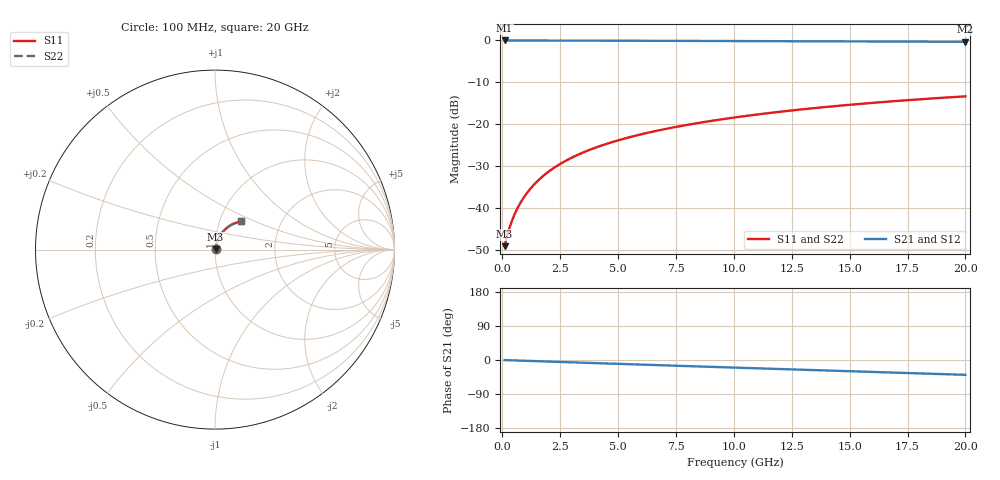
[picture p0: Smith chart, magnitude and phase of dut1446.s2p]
! Touchstone file exported from HFSS 2026.1.0
!  File:  C:/ffzhzh/LocalFiles/Ansys_Project_Files/temp_train_BSMRDL_1446_1783180625_51560.aedt
!  Generated:  11:58:22 PM Jul  4, 2026
!  Design:  BSMRDL
!  Project:  temp_train_BSMRDL_1446_1783180625_51560
! Variables:
!  h_bsmrdl = 5.2um
!  h_ox = 20um
!  h_rdl = 5um
!  h_sub = 80um
!  h_tmrdl = 5um
!  h_tsv = 80um
!  h_via = 3um
!  l_bsmrdl = 669.67um
!  l_sub = 1069.67um
!  l_tmrdl = 200um
!  m_sub = 200um
!  pitch = 26.01um
!  r_tsv = 6um
!  s_tmrdl = 10um
!  w_bsmrdl = 15.38um
!  w_sub = 500um
!  w_tmrdl = 12um
!  x_tsv_center1 = 206um
!  x_tsv_center2 = 891.05um
!  x_tsv_center3 = 1103.05um
!  x_tsv_center4 = 1788.1um
!  x_tsv_center5 = 2000.1um
!  x_tsv_center6 = 2685.15um
# GHz S MA R 50.000000
! Terminal data exported
! Port[1] = BSM_RDL1_1_T1
! Port[2] = BSM_RDL1_1_T2
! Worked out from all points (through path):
!   200 points, 100 MHz to 20 GHz, reference 50 ohm
!   highest |S21| = -0.03 dB at 100 MHz (marker M1); lowest = -0.3 dB at 20 GHz (marker M2)
!   group delay of S21, straight-line fit = 5.41 ps
!   lowest |S11| = -49.1 dB at 100 MHz (marker M3), VSWR 1.01, Z = 50.3 + j0.163 ohm
!   |S11| at or under -10 dB: start of sweep to end of sweep
!   |S22| runs from -49.1 to -13.4 dB; largest |S21 - S12| = 3.5e-15
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0.1  0.003507 27.5  0.9969 -0.2  0.9969 -0.2  0.003507 27.5
! Gamma 0 0 0 0
! Port Impedance 50 0 50 0
0.2  0.004546 42.8  0.9967 -0.4  0.9967 -0.4  0.004546 42.8
0.3  0.005687 51.4  0.9965 -0.7  0.9965 -0.7  0.005687 51.4
0.4  0.00685 57.1  0.9964 -0.9  0.9964 -0.9  0.00685 57.1
0.5  0.008036 61.2  0.9962 -1.1  0.9962 -1.1  0.008036 61.2
0.6  0.009246 64.3  0.9961 -1.3  0.9961 -1.3  0.009246 64.3
0.8  0.01173 68.6  0.996 -1.7  0.996 -1.7  0.01173 68.6
1  0.01427 71.3  0.9958 -2.1  0.9958 -2.1  0.01427 71.3
1.2  0.01683 73.0  0.9957 -2.5  0.9957 -2.5  0.01683 73.0
1.4  0.01942 74.1  0.9955 -2.9  0.9955 -2.9  0.01942 74.1
1.7  0.0233 75.1  0.9952 -3.5  0.9952 -3.5  0.0233 75.1
2.2  0.02973 75.7  0.9946 -4.6  0.9946 -4.6  0.02973 75.7
2.8  0.03735 75.6  0.9937 -5.8  0.9937 -5.8  0.03735 75.6
3.5  0.04607 74.9  0.9926 -7.2  0.9926 -7.2  0.04607 74.9
4.2  0.0546 73.9  0.9915 -8.6  0.9915 -8.6  0.0546 74.0
5  0.06413 72.7  0.9901 -10.2  0.9901 -10.2  0.06413 72.7
6.8  0.08489 69.8  0.9869 -13.8  0.9869 -13.8  0.08488 69.8
8.3  0.1016 67.3  0.9842 -16.7  0.9842 -16.7  0.1016 67.3
10.1  0.121 64.2  0.9809 -20.2  0.9809 -20.2  0.121 64.2
13.4  0.1548 58.5  0.9745 -26.6  0.9745 -26.6  0.1548 58.5
16.7  0.1862 52.6  0.9678 -32.9  0.9678 -32.9  0.1861 52.7
20  0.2148 46.8  0.9609 -39.1  0.9609 -39.1  0.2148 46.9
